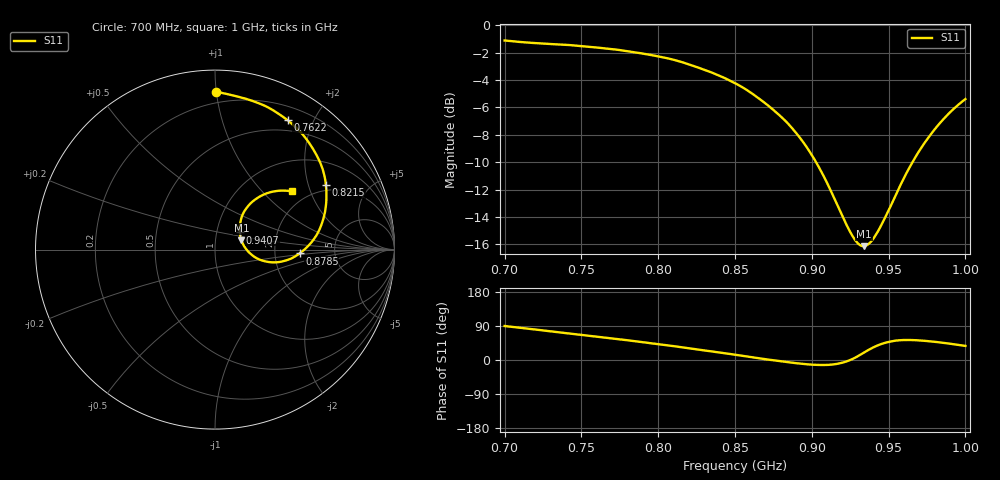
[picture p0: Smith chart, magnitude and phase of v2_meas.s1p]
! 5/26/2025 8:46:26 PM
! C:\ANRITSUVNA\DORIAN\26\V1_MEAS2.S1P
! CHANNEL.1
! TR.MEASUREMENT
! CORRECTED.DATA
! RF.CORRECTION: FULL.TWO.PORT.CAL.PORT.1.2
! AVERAGING: 1 PointByPoint
! IF.BANDWIDTH: 300HZ
! SWEEPTYPE:  FREQ.SWEEP(Linear)
! Reference Plane Port Info
! PORT:  PORT1
! DISTANCE:  0  m
! TIME:  0  s
! PHASE.OFFSET:  0 °
! LOSS:  0  dB
! REF.LOSS:  0  dB
! REF.FREQ:  0  Hz
! Power Info
! POWER:  5  dBm
! EFF.POWER:  5  dBm
# GHZ S RI R 50.0
! FREQ.GHZ  S11RE  S11IM
!; PortSelection: Port_1
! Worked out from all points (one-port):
!   401 points, 700 MHz to 1 GHz, reference 50 ohm
!   lowest |S11| = -16.1 dB at 934 MHz (marker M1), VSWR 1.37, Z = 66.8 + j7.18 ohm
!   |S11| at or under -10 dB: 902.8 MHz to 965.6 MHz (62.81 MHz wide, 6.72 % of centre)
!   S11 on the Smith chart (normalised r, x): 700 MHz: 0.13, +1.00; 762.2 MHz: 0.36, +1.65; 821.5 MHz: 1.78, +2.61; 878.5 MHz: 2.77, -0.15; 940.8 MHz: 1.29, +0.26; 1 GHz: 1.65, +1.50
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0.7  0.00483 0.8797
0.7195  0.1386 0.8498
0.7375  0.2608 0.8085
0.748  0.3237 0.7764
0.76225  0.4044 0.7207
0.775  0.4706 0.6614
0.79375  0.5497 0.5551
0.8125  0.606 0.4274
0.8215  0.6181 0.3596
0.8365  0.6183 0.2473
0.85  0.5962 0.148
0.86425  0.5445 0.0496
0.8785  0.4709 -0.0216
0.8875  0.4153 -0.0536
0.89725  0.3479 -0.0703
0.90625  0.2838 -0.0664
0.9145  0.2294 -0.0464
0.925  0.1758 -3.05e-05
0.93025  0.1565 0.0294
0.934  0.1469 0.0525
0.937  0.142 0.0716
0.94075  0.1384 0.0958
0.95275  0.1463 0.1737
0.9625  0.178 0.2346
0.9715  0.2244 0.2794
0.982  0.2926 0.3149
0.99025  0.3539 0.3278
1  0.4282 0.3245
